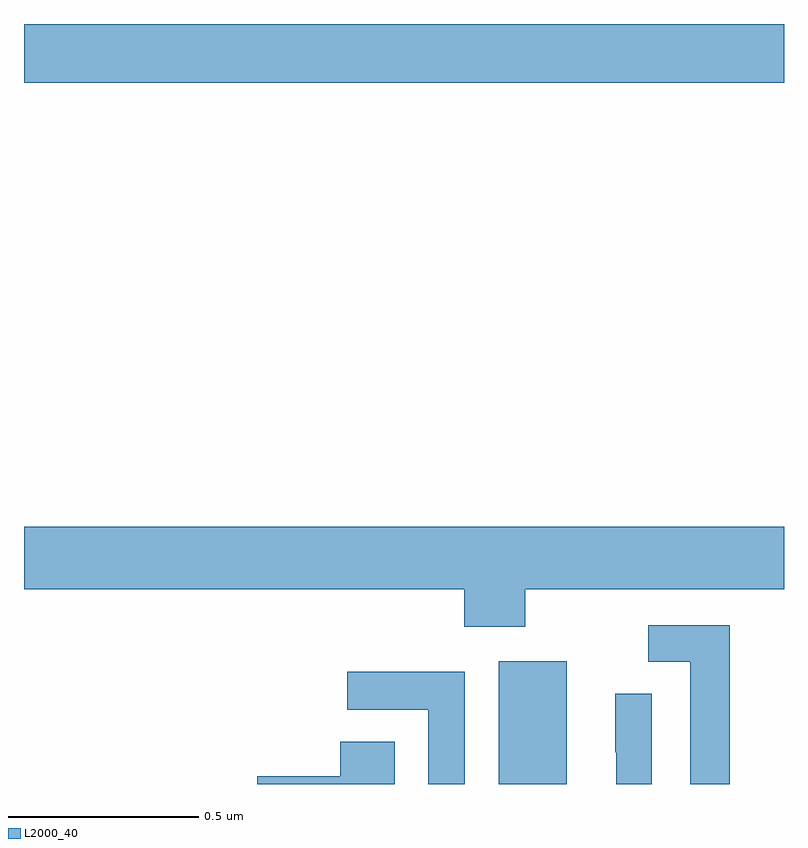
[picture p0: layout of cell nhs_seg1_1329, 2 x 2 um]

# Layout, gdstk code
import gdstk
lib = gdstk.Library(unit=1e-6, precision=1e-09)
def R(c, l, rs):  # rectangles x0, y0, x1, y1
    for r in rs: c.add(gdstk.rectangle(r[:2], r[2:], *l))
def P(c, l, *ps):  # polygons
    for p in ps: c.add(gdstk.Polygon(p, *l))
L2000_40 = (2000, 40)

nhs_seg1_1329 = lib.new_cell('nhs_seg1_1329')
R(nhs_seg1_1329, L2000_40, [(128.249,571.199,128.428,571.522), (127,573.044,129,573.199)])
P(nhs_seg1_1329, L2000_40, [(128.319,571.712),(129,571.712),(129,571.876),(127,571.876),(127,571.712),(128.159,571.712),(128.159,571.613),(128.319,571.613)],
  [(128.857,571.617),(128.643,571.617),(128.643,571.521),(128.753,571.521),(128.753,571.199),(128.857,571.199)],
  [(128.16,571.494),(127.851,571.494),(127.851,571.395),(128.064,571.395),(128.064,571.199),(128.16,571.199)],
  [(128.652,571.436),(128.556,571.436),(128.556,571.282),(128.558,571.282),(128.558,571.199),(128.652,571.199)],
  [(127.975,571.31),(127.832,571.31),(127.832,571.22),(127.614,571.22),(127.614,571.199),(127.975,571.199)])

lib.write_gds('nhs_seg1_1329.gds')
